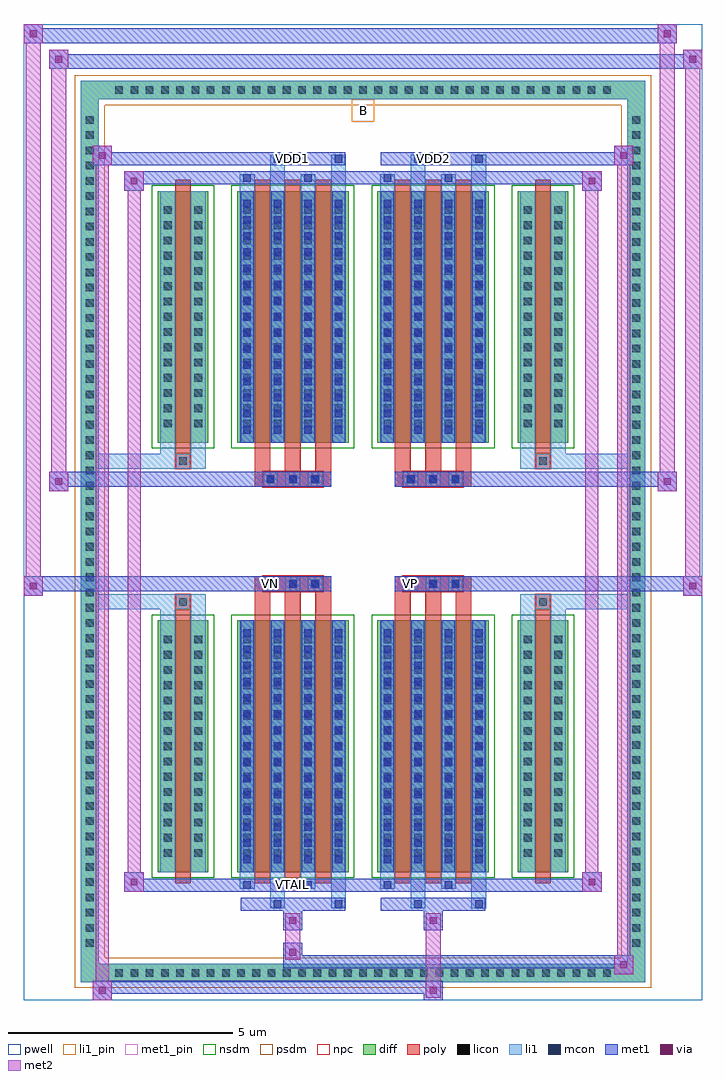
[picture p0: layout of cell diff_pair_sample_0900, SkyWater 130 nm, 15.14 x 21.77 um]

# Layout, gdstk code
import gdstk
lib = gdstk.Library(unit=1e-6, precision=5e-09)
def R(c, l, rs):  # rectangles x0, y0, x1, y1
    for r in rs: c.add(gdstk.rectangle(r[:2], r[2:], *l))
def A(c, l, x, y, w, h, nx, ny, dx, dy):  # array of equal rectangles
    R(c, l, [(x+i*dx, y+j*dy, x+i*dx+w, y+j*dy+h) for i in range(nx) for j in range(ny)])
def P(c, l, *ps):  # polygons
    for p in ps: c.add(gdstk.Polygon(p, *l))
pwell = (64, 44)
diff = (65, 20)
poly = (66, 20)
licon = (66, 44)
li1_pin = (67, 16)
li1 = (67, 20)
mcon = (67, 44)
met1_pin = (68, 16)
met1 = (68, 20)
via = (68, 44)
met2 = (69, 20)
nsdm = (93, 44)
psdm = (94, 20)
npc = (95, 20)

diff_pair_sample_0900 = lib.new_cell('diff_pair_sample_0900')
R(diff_pair_sample_0900, pwell, [(-7.57,-10.45,7.57,11.32), (-4.89,-8.64,-0.01,-0.8), (0.01,-8.64,4.89,-0.8), (-4.89,0.8,-0.01,8.64), (0.01,0.8,4.89,8.64)])
A(diff_pair_sample_0900, diff, -5.645, -10.05, 0.41, 0.41, 33, 2, 0.34, 19.69)
A(diff_pair_sample_0900, diff, -6.3, -9.385, 0.41, 0.41, 1, 55, 0, 0.34)
A(diff_pair_sample_0900, diff, 5.89, -9.385, 0.41, 0.41, 1, 55, 0, 0.34)
R(diff_pair_sample_0900, diff, [(-5.645,-10.05,5.645,-9.64), (-6.3,-9.385,-5.89,9.385), (5.89,-9.385,6.3,9.385), (-4.58,-7.595,-3.45,-1.985), (-2.81,-7.595,-0.32,-1.985), (0.32,-7.595,2.81,-1.985), (3.45,-7.595,4.58,-1.985), (-4.58,1.985,-3.45,7.595), (-2.81,1.985,-0.32,7.595), (0.32,1.985,2.81,7.595), (3.45,1.985,4.58,7.595), (-5.645,9.64,5.645,10.05)])
P(diff_pair_sample_0900, diff, [(6.3,10.05),(-6.3,10.05),(-6.3,-9.64),(-5.89,-9.64),(-5.89,9.64),(5.89,9.64),(5.89,-9.64),(-5.89,-9.64),(-6.3,-9.64),(-6.3,-10.05),(6.3,-10.05)])
A(diff_pair_sample_0900, poly, -2.42, -7.845, 0.35, 6.11, 3, 2, 0.68, 9.58)
A(diff_pair_sample_0900, poly, 0.71, -7.845, 0.35, 6.11, 3, 2, 0.68, 9.58)
A(diff_pair_sample_0900, poly, -2.42, -1.735, 0.35, 0.405, 3, 2, 0.68, 3.065)
A(diff_pair_sample_0900, poly, 0.71, -1.735, 0.35, 0.405, 3, 2, 0.68, 3.065)
A(diff_pair_sample_0900, poly, -2.23, -1.33, 0.33, 0.33, 3, 2, 0.5, 2.33)
A(diff_pair_sample_0900, poly, 0.9, -1.33, 0.33, 0.33, 3, 2, 0.5, 2.33)
R(diff_pair_sample_0900, poly, [(-4.19,-7.845,-3.84,-1.735), (3.84,-7.845,4.19,-1.735), (-4.18,-1.735,-3.85,-1.405), (-4.18,-1.735,-3.85,-1.405), (3.85,-1.735,4.18,-1.405), (3.85,-1.735,4.18,-1.405), (-2.42,-1.33,-0.71,-1), (0.71,-1.33,2.42,-1), (-2.42,1,-0.71,1.33), (0.71,1,2.42,1.33), (-4.18,1.405,-3.85,1.735), (-4.18,1.405,-3.85,1.735), (3.85,1.405,4.18,1.735), (3.85,1.405,4.18,1.735), (-4.19,1.735,-3.84,7.845), (3.84,1.735,4.19,7.845)])
A(diff_pair_sample_0900, licon, -5.525, -9.93, 0.17, 0.17, 33, 2, 0.34, 19.69)
A(diff_pair_sample_0900, licon, -6.18, -9.265, 0.17, 0.17, 1, 55, 0, 0.34)
A(diff_pair_sample_0900, licon, 6.01, -9.265, 0.17, 0.17, 1, 55, 0, 0.34)
A(diff_pair_sample_0900, licon, -4.44, -7.255, 0.17, 0.17, 1, 15, 0, 0.34)
A(diff_pair_sample_0900, licon, -3.76, -7.255, 0.17, 0.17, 1, 15, 0, 0.34)
A(diff_pair_sample_0900, licon, -2.67, -7.255, 0.17, 0.17, 4, 15, 0.68, 0.34)
A(diff_pair_sample_0900, licon, 0.46, -7.255, 0.17, 0.17, 4, 15, 0.68, 0.34)
A(diff_pair_sample_0900, licon, 3.59, -7.255, 0.17, 0.17, 1, 15, 0, 0.34)
A(diff_pair_sample_0900, licon, 4.27, -7.255, 0.17, 0.17, 1, 15, 0, 0.34)
A(diff_pair_sample_0900, licon, -2.15, -1.25, 0.17, 0.17, 3, 2, 0.5, 2.33)
A(diff_pair_sample_0900, licon, 0.98, -1.25, 0.17, 0.17, 3, 2, 0.5, 2.33)
A(diff_pair_sample_0900, licon, -4.44, 2.325, 0.17, 0.17, 1, 15, 0, 0.34)
A(diff_pair_sample_0900, licon, -3.76, 2.325, 0.17, 0.17, 1, 15, 0, 0.34)
A(diff_pair_sample_0900, licon, -2.67, 2.325, 0.17, 0.17, 4, 15, 0.68, 0.34)
A(diff_pair_sample_0900, licon, 0.46, 2.325, 0.17, 0.17, 4, 15, 0.68, 0.34)
A(diff_pair_sample_0900, licon, 3.59, 2.325, 0.17, 0.17, 1, 15, 0, 0.34)
A(diff_pair_sample_0900, licon, 4.27, 2.325, 0.17, 0.17, 1, 15, 0, 0.34)
R(diff_pair_sample_0900, licon, [(-4.1,-1.655,-3.93,-1.485), (3.93,-1.655,4.1,-1.485), (-4.1,1.485,-3.93,1.655), (3.93,1.485,4.1,1.655)])
R(diff_pair_sample_0900, li1_pin, [(-0.25,9.14,0.25,9.64)])
A(diff_pair_sample_0900, li1, -5.605, -10.01, 0.33, 0.33, 33, 2, 0.34, 19.69)
A(diff_pair_sample_0900, li1, -6.26, -9.345, 0.33, 0.33, 1, 55, 0, 0.34)
A(diff_pair_sample_0900, li1, 5.93, -9.345, 0.33, 0.33, 1, 55, 0, 0.34)
A(diff_pair_sample_0900, li1, -2.75, -7.595, 0.33, 5.61, 4, 2, 0.68, 9.58)
A(diff_pair_sample_0900, li1, 0.38, -7.595, 0.33, 5.61, 4, 2, 0.68, 9.58)
A(diff_pair_sample_0900, li1, -2.67, -7.395, 0.17, 0.17, 4, 15, 0.68, 0.36)
A(diff_pair_sample_0900, li1, -2.67, -7.395, 0.17, 5.21, 4, 2, 0.68, 9.58)
A(diff_pair_sample_0900, li1, 0.46, -7.395, 0.17, 0.17, 4, 15, 0.68, 0.36)
A(diff_pair_sample_0900, li1, 0.46, -7.395, 0.17, 5.21, 4, 2, 0.68, 9.58)
A(diff_pair_sample_0900, li1, -4.52, -7.335, 0.33, 0.33, 1, 15, 0, 0.34)
A(diff_pair_sample_0900, li1, -3.84, -7.335, 0.33, 0.33, 1, 15, 0, 0.34)
A(diff_pair_sample_0900, li1, -2.75, -7.335, 0.33, 0.33, 4, 15, 0.68, 0.34)
A(diff_pair_sample_0900, li1, 0.38, -7.335, 0.33, 0.33, 4, 15, 0.68, 0.34)
A(diff_pair_sample_0900, li1, 3.51, -7.335, 0.33, 0.33, 1, 15, 0, 0.34)
A(diff_pair_sample_0900, li1, 4.19, -7.335, 0.33, 0.33, 1, 15, 0, 0.34)
A(diff_pair_sample_0900, li1, -2.23, -1.33, 0.33, 0.33, 3, 2, 0.5, 2.33)
A(diff_pair_sample_0900, li1, 0.9, -1.33, 0.33, 0.33, 3, 2, 0.5, 2.33)
A(diff_pair_sample_0900, li1, -2.67, 2.185, 0.17, 0.17, 4, 15, 0.68, 0.36)
A(diff_pair_sample_0900, li1, 0.46, 2.185, 0.17, 0.17, 4, 15, 0.68, 0.36)
A(diff_pair_sample_0900, li1, -4.52, 2.245, 0.33, 0.33, 1, 15, 0, 0.34)
A(diff_pair_sample_0900, li1, -3.84, 2.245, 0.33, 0.33, 1, 15, 0, 0.34)
A(diff_pair_sample_0900, li1, -2.75, 2.245, 0.33, 0.33, 4, 15, 0.68, 0.34)
A(diff_pair_sample_0900, li1, 0.38, 2.245, 0.33, 0.33, 4, 15, 0.68, 0.34)
A(diff_pair_sample_0900, li1, 3.51, 2.245, 0.33, 0.33, 1, 15, 0, 0.34)
A(diff_pair_sample_0900, li1, 4.19, 2.245, 0.33, 0.33, 1, 15, 0, 0.34)
R(diff_pair_sample_0900, li1, [(-6.3,-10.05,-5.89,-9.64), (-6.3,-10.05,-5.89,-9.64), (-5.89,-10.05,5.89,-9.64), (5.89,-10.05,6.3,-9.64), (5.89,-10.05,6.3,-9.64), (-6.3,-9.64,-5.89,9.64), (5.89,-9.64,6.3,9.64), (-2.07,-8.4,-1.74,-7.595), (-1.99,-8.4,-1.82,-8.23), (-0.71,-8.4,-0.38,-7.595), (-0.63,-8.4,-0.46,-8.23), (1.06,-8.4,1.39,-7.595), (1.14,-8.4,1.31,-8.23), (2.42,-8.4,2.75,-7.595), (2.5,-8.4,2.67,-8.23), (-2.75,-7.97,-2.42,-7.595), (-2.67,-7.97,-2.5,-7.8), (-1.39,-7.97,-1.06,-7.595), (-1.31,-7.97,-1.14,-7.8), (0.38,-7.97,0.71,-7.595), (0.46,-7.97,0.63,-7.8), (1.74,-7.97,2.07,-7.595), (1.82,-7.97,1.99,-7.8), (-4.52,-7.595,-4.19,-1.985), (-3.84,-7.595,-3.51,-1.985), (3.51,-7.595,3.84,-1.985), (4.19,-7.595,4.52,-1.985), (-4.52,-1.985,-4.19,-1.405), (-3.84,-1.985,-3.51,-1.405), (3.51,-1.985,3.84,-1.405), (4.19,-1.985,4.52,-1.405), (-6.3,-1.735,-4.18,-1.405), (-4.52,-1.735,-4.18,-1.405), (-4.18,-1.735,-3.85,-1.405), (-3.85,-1.735,-3.51,-1.405), (3.51,-1.735,3.85,-1.405), (3.85,-1.735,4.18,-1.405), (3.85,-1.735,6.3,-1.405), (4.18,-1.735,4.52,-1.405), (-6.3,1.405,-4.18,1.735), (-4.52,1.405,-4.18,1.735), (-4.52,1.405,-4.19,1.985), (-4.18,1.405,-3.85,1.735), (-3.85,1.405,-3.51,1.735), (-3.84,1.405,-3.51,1.985), (3.51,1.405,3.85,1.735), (3.51,1.405,3.84,1.985), (3.85,1.405,4.18,1.735), (3.85,1.405,6.3,1.735), (4.18,1.405,4.52,1.735), (4.19,1.405,4.52,1.985), (-4.52,1.985,-4.19,7.595), (-3.84,1.985,-3.51,7.595), (3.51,1.985,3.84,7.595), (4.19,1.985,4.52,7.595), (-2.75,7.595,-2.42,7.97), (-2.07,7.595,-1.74,8.4), (-1.39,7.595,-1.06,7.97), (-0.71,7.595,-0.38,8.4), (0.38,7.595,0.71,7.97), (1.06,7.595,1.39,8.4), (1.74,7.595,2.07,7.97), (2.42,7.595,2.75,8.4), (-2.67,7.8,-2.5,7.97), (-1.31,7.8,-1.14,7.97), (0.46,7.8,0.63,7.97), (1.82,7.8,1.99,7.97), (-1.99,8.23,-1.82,8.4), (-0.63,8.23,-0.46,8.4), (1.14,8.23,1.31,8.4), (2.5,8.23,2.67,8.4), (-6.3,9.64,-5.89,10.05), (-6.3,9.64,-5.89,10.05), (-5.89,9.64,5.89,10.05), (5.89,9.64,6.3,10.05), (5.89,9.64,6.3,10.05)])
A(diff_pair_sample_0900, mcon, -2.67, -7.395, 0.17, 0.17, 4, 15, 0.68, 0.36)
A(diff_pair_sample_0900, mcon, 0.46, -7.395, 0.17, 0.17, 4, 15, 0.68, 0.36)
A(diff_pair_sample_0900, mcon, -2.15, -1.25, 0.17, 0.17, 3, 2, 0.5, 2.33)
A(diff_pair_sample_0900, mcon, 0.98, -1.25, 0.17, 0.17, 3, 2, 0.5, 2.33)
A(diff_pair_sample_0900, mcon, -2.67, 2.185, 0.17, 0.17, 4, 15, 0.68, 0.36)
A(diff_pair_sample_0900, mcon, 0.46, 2.185, 0.17, 0.17, 4, 15, 0.68, 0.36)
R(diff_pair_sample_0900, mcon, [(-1.99,-8.4,-1.82,-8.23), (-0.63,-8.4,-0.46,-8.23), (1.14,-8.4,1.31,-8.23), (2.5,-8.4,2.67,-8.23), (-2.67,-7.97,-2.5,-7.8), (-1.31,-7.97,-1.14,-7.8), (0.46,-7.97,0.63,-7.8), (1.82,-7.97,1.99,-7.8), (-2.67,7.8,-2.5,7.97), (-1.31,7.8,-1.14,7.97), (0.46,7.8,0.63,7.97), (1.82,7.8,1.99,7.97), (-1.99,8.23,-1.82,8.4), (-0.63,8.23,-0.46,8.4), (1.14,8.23,1.31,8.4), (2.5,8.23,2.67,8.4)])
R(diff_pair_sample_0900, met1_pin, [(-1.7,-8.01,-1.43,-7.74), (-2.2,-1.29,-1.93,-1.02), (0.93,-1.29,1.2,-1.02), (-1.7,8.19,-1.43,8.46), (1.43,8.19,1.7,8.46)])
A(diff_pair_sample_0900, met1, -2.73, -7.595, 0.29, 5.61, 4, 2, 0.68, 9.58)
A(diff_pair_sample_0900, met1, 0.4, -7.595, 0.29, 5.61, 4, 2, 0.68, 9.58)
A(diff_pair_sample_0900, met1, -2.73, -7.455, 0.29, 0.29, 4, 15, 0.68, 0.36)
A(diff_pair_sample_0900, met1, 0.4, -7.455, 0.29, 0.29, 4, 15, 0.68, 0.36)
A(diff_pair_sample_0900, met1, -2.21, -1.31, 0.29, 0.29, 3, 2, 0.5, 2.33)
A(diff_pair_sample_0900, met1, 0.92, -1.31, 0.29, 0.29, 3, 2, 0.5, 2.33)
A(diff_pair_sample_0900, met1, -2.73, 2.125, 0.29, 0.29, 4, 15, 0.68, 0.36)
A(diff_pair_sample_0900, met1, 0.4, 2.125, 0.29, 0.29, 4, 15, 0.68, 0.36)
R(diff_pair_sample_0900, met1, [(-6.03,-10.45,-5.6,-10.02), (1.35,-10.45,1.78,-10.02), (-6.03,-10.31,1.78,-10.02), (5.6,-9.88,6.03,-9.45), (-1.78,-9.74,6.03,-9.45), (-1.78,-9.6,-1.35,-9.17), (-1.78,-8.89,-1.35,-8.46), (1.35,-8.89,1.78,-8.46), (-2.73,-8.46,-0.4,-8.17), (-2.05,-8.46,-1.76,-8.17), (-0.69,-8.46,-0.4,-8.17), (0.4,-8.46,2.73,-8.17), (1.08,-8.46,1.37,-8.17), (2.44,-8.46,2.73,-8.17), (-5.32,-8.03,-4.89,-7.6), (-5.32,-8.03,-2.73,-7.74), (-2.73,-8.03,-2.44,-7.74), (-2.73,-8.03,-0.4,-7.74), (-1.37,-8.03,-1.08,-7.74), (-0.4,-8.03,0.4,-7.74), (0.4,-8.03,0.69,-7.74), (0.4,-8.03,2.73,-7.74), (1.76,-8.03,2.05,-7.74), (2.73,-8.03,5.32,-7.74), (4.89,-8.03,5.32,-7.6), (-7.57,-1.43,-7.14,-1), (7.14,-1.43,7.57,-1), (-7.57,-1.33,-0.71,-1), (-2.42,-1.33,-0.71,-1), (0.71,-1.33,2.42,-1), (0.71,-1.33,7.57,-1), (-7,0.9,-6.57,1.33), (6.57,0.9,7,1.33), (-7,1,-2.42,1.33), (-2.42,1,-0.71,1.33), (0.71,1,2.42,1.33), (2.42,1,7,1.33), (-5.32,7.6,-4.89,8.03), (4.89,7.6,5.32,8.03), (-5.32,7.74,-2.73,8.03), (-2.73,7.74,-2.44,8.03), (-2.73,7.74,-0.4,8.03), (-1.37,7.74,-1.08,8.03), (-0.4,7.74,0.4,8.03), (0.4,7.74,0.69,8.03), (0.4,7.74,2.73,8.03), (1.76,7.74,2.05,8.03), (2.73,7.74,5.32,8.03), (-6.03,8.17,-5.6,8.6), (-6.03,8.17,-2.73,8.46), (-2.73,8.17,-0.4,8.46), (-2.05,8.17,-1.76,8.46), (-0.69,8.17,-0.4,8.46), (0.4,8.17,2.73,8.46), (1.08,8.17,1.37,8.46), (2.44,8.17,2.73,8.46), (2.73,8.17,6.03,8.46), (5.6,8.17,6.03,8.6), (-7,10.32,-6.57,10.75), (-7,10.32,-4.89,10.65), (-4.89,10.32,4.89,10.65), (4.89,10.32,7.57,10.65), (7.14,10.32,7.57,10.75), (-7.57,10.89,-7.14,11.32), (-7.57,10.89,-4.89,11.22), (-4.89,10.89,4.89,11.22), (4.89,10.89,7,11.22), (6.57,10.89,7,11.32)])
R(diff_pair_sample_0900, via, [(-5.89,-10.31,-5.74,-10.16), (1.49,-10.31,1.64,-10.16), (5.74,-9.74,5.89,-9.59), (-1.64,-9.46,-1.49,-9.31), (-1.64,-8.75,-1.49,-8.6), (1.49,-8.75,1.64,-8.6), (-5.18,-7.89,-5.03,-7.74), (5.03,-7.89,5.18,-7.74), (-7.43,-1.29,-7.28,-1.14), (7.28,-1.29,7.43,-1.14), (-6.86,1.04,-6.71,1.19), (6.71,1.04,6.86,1.19), (-5.18,7.74,-5.03,7.89), (5.03,7.74,5.18,7.89), (-5.89,8.31,-5.74,8.46), (5.74,8.31,5.89,8.46), (-6.86,10.46,-6.71,10.61), (7.28,10.46,7.43,10.61), (-7.43,11.03,-7.28,11.18), (6.71,11.03,6.86,11.18)])
R(diff_pair_sample_0900, met2, [(-6.03,-10.45,-5.6,-10.02), (-5.96,-10.45,-5.67,8.6), (-5.67,-10.45,-5.6,-10.02), (-5.98,-10.4,-5.65,-10.07), (1.4,-10.4,1.73,-10.07), (1.4,-10.07,1.73,-8.84), (5.6,-9.88,6.03,-9.45), (5.67,-9.88,5.96,8.6), (5.96,-9.88,6.03,-9.45), (5.65,-9.83,5.98,-9.5), (-1.73,-9.55,-1.4,-9.22), (-1.73,-9.22,-1.4,-8.84), (-1.73,-8.84,-1.4,-8.51), (1.4,-8.84,1.73,-8.51), (-5.32,-8.03,-4.89,-7.6), (-5.25,-8.03,-4.96,8.03), (-4.96,-8.03,-4.89,-7.6), (4.89,-8.03,5.32,-7.6), (4.96,-8.03,5.25,8.03), (5.25,-8.03,5.32,-7.6), (-5.27,-7.98,-4.94,-7.65), (4.94,-7.98,5.27,-7.65), (-7.57,-1.43,-7.14,-1), (-7.52,-1.43,-7.19,11.32), (-7.19,-1.43,-7.14,-1), (7.14,-1.43,7.57,-1), (7.19,-1.43,7.52,10.75), (7.52,-1.43,7.57,-1), (-7.52,-1.38,-7.19,-1.05), (7.19,-1.38,7.52,-1.05), (-7,0.9,-6.57,1.33), (-6.95,0.9,-6.62,10.75), (-6.62,0.9,-6.57,1.33), (6.57,0.9,7,1.33), (6.62,0.9,6.95,11.32), (6.95,0.9,7,1.33), (-6.95,0.95,-6.62,1.28), (6.62,0.95,6.95,1.28), (-5.32,7.6,-4.89,8.03), (-4.96,7.6,-4.89,8.03), (4.89,7.6,5.32,8.03), (5.25,7.6,5.32,8.03), (-5.27,7.65,-4.94,7.98), (4.94,7.65,5.27,7.98), (-6.03,8.17,-5.6,8.6), (-5.67,8.17,-5.6,8.6), (5.6,8.17,6.03,8.6), (5.96,8.17,6.03,8.6), (-5.98,8.22,-5.65,8.55), (5.65,8.22,5.98,8.55), (-7,10.32,-6.57,10.75), (-6.62,10.32,-6.57,10.75), (7.14,10.32,7.57,10.75), (7.52,10.32,7.57,10.75), (-6.95,10.37,-6.62,10.7), (7.19,10.37,7.52,10.7), (-7.57,10.89,-7.14,11.32), (-7.19,10.89,-7.14,11.32), (6.57,10.89,7,11.32), (6.95,10.89,7,11.32), (-7.52,10.94,-7.19,11.27), (6.62,10.94,6.95,11.27)])
R(diff_pair_sample_0900, nsdm, [(-4.71,-7.725,-3.32,-1.855), (-2.94,-7.725,-0.19,-1.855), (0.19,-7.725,2.94,-1.855), (3.32,-7.725,4.71,-1.855), (-4.71,1.855,-3.32,7.725), (-2.94,1.855,-0.19,7.725), (0.19,1.855,2.94,7.725), (3.32,1.855,4.71,7.725)])
P(diff_pair_sample_0900, psdm, [(6.43,10.18),(-6.43,10.18),(-6.43,-9.51),(-5.76,-9.51),(-5.76,9.51),(5.76,9.51),(5.76,-9.51),(-5.76,-9.51),(-6.43,-9.51),(-6.43,-10.18),(6.43,-10.18)])
A(diff_pair_sample_0900, npc, -2.25, -1.35, 0.37, 0.37, 3, 2, 0.5, 2.33)
A(diff_pair_sample_0900, npc, 0.88, -1.35, 0.37, 0.37, 3, 2, 0.5, 2.33)
R(diff_pair_sample_0900, npc, [(-4.2,-1.755,-3.83,-1.385), (3.83,-1.755,4.2,-1.385), (-2.25,-1.35,-1.38,-0.98), (-2.25,-1.35,-1.38,-0.98), (-1.75,-1.35,-0.88,-0.98), (-1.75,-1.35,-0.88,-0.98), (0.88,-1.35,1.75,-0.98), (0.88,-1.35,1.75,-0.98), (1.38,-1.35,2.25,-0.98), (1.38,-1.35,2.25,-0.98), (-2.25,0.98,-1.38,1.35), (-2.25,0.98,-1.38,1.35), (-1.75,0.98,-0.88,1.35), (-1.75,0.98,-0.88,1.35), (0.88,0.98,1.75,1.35), (0.88,0.98,1.75,1.35), (1.38,0.98,2.25,1.35), (1.38,0.98,2.25,1.35), (-4.2,1.385,-3.83,1.755), (3.83,1.385,4.2,1.755)])
diff_pair_sample_0900.add(gdstk.Label('VTAIL', (-1.565,-7.875), layer=68, texttype=5))
diff_pair_sample_0900.add(gdstk.Label('VN', (-2.065,-1.155), layer=68, texttype=5))
diff_pair_sample_0900.add(gdstk.Label('VP', (1.065,-1.155), layer=68, texttype=5))
diff_pair_sample_0900.add(gdstk.Label('B', (0,9.39), layer=67, texttype=5))
diff_pair_sample_0900.add(gdstk.Label('VDD2', (1.565,8.325), layer=68, texttype=5))
diff_pair_sample_0900.add(gdstk.Label('VDD1', (-1.565,8.325), layer=68, texttype=5))

lib.write_gds('diff_pair_sample_0900.gds')
